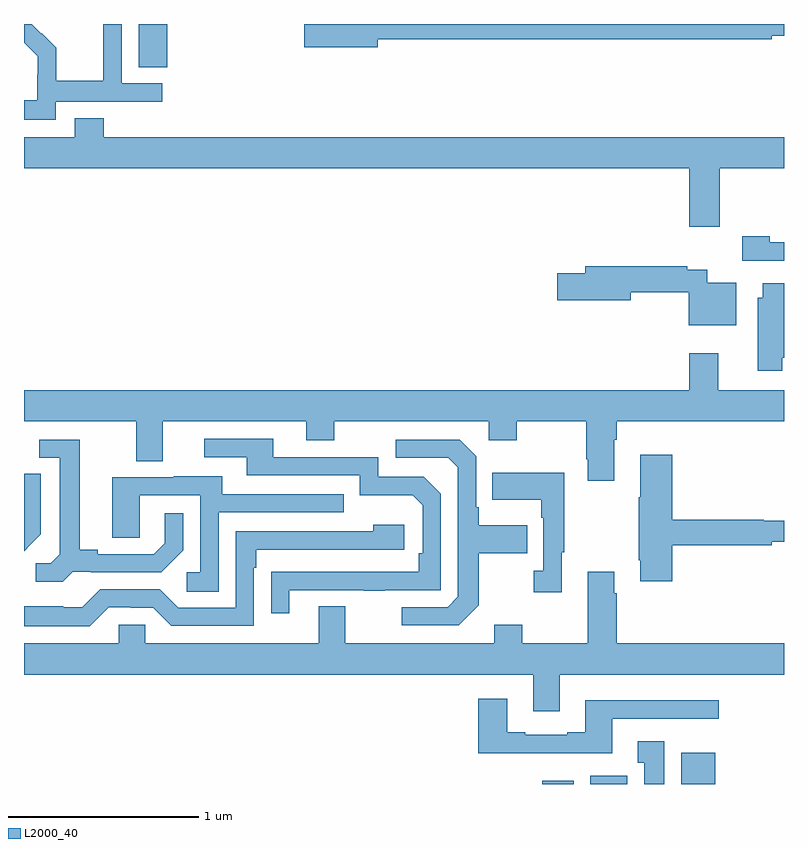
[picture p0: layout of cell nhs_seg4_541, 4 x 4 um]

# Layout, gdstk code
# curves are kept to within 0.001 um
import gdstk
lib = gdstk.Library(unit=1e-6, precision=1e-09)
def R(c, l, rs):  # rectangles x0, y0, x1, y1
    for r in rs: c.add(gdstk.rectangle(r[:2], r[2:], *l))
def P(c, l, *ps):  # polygons
    for p in ps: c.add(gdstk.Polygon(p, *l))
L2000_40 = (2000, 40)

nhs_seg4_541 = lib.new_cell('nhs_seg4_541')
R(nhs_seg4_541, L2000_40, [(139.727,806.9,139.894,806.917), (139.979,806.9,140.176,806.944), (140.459,806.9,140.638,807.064), (137.603,810.673,137.753,810.9)])
P(nhs_seg4_541, L2000_40, [(138.862,810.82),(140.936,810.82),(140.936,810.839),(141,810.839),(141,810.9),(138.474,810.9),(138.474,810.778),(138.862,810.778)],
  [(137.166,810.492),(137.728,810.492),(137.728,810.588),(137.514,810.588),(137.514,810.9),(137.418,810.9),(137.418,810.824),(137.416,810.824),(137.416,810.601),(137.171,810.601),(137.171,810.775),(137.094,810.852),(137.091,810.849),(137.041,810.9),(137,810.9),(137,810.802),(137.072,810.73),(137.072,810.633),(137.07,810.633),(137.07,810.499),(137,810.499),(137,810.395),(137.166,810.395)],
  [(140.661,810.14),(141,810.14),(141,810.304),(137.42,810.304),(137.42,810.403),(137.267,810.403),(137.267,810.304),(137,810.304),(137,810.14),(140.501,810.14),(140.501,809.832),(140.661,809.832)],
  [(141,809.751),(140.925,809.751),(140.925,809.784),(140.781,809.784),(140.781,809.655),(141,809.655)],
  [(140.749,809.539),(140.595,809.539),(140.595,809.607),(140.492,809.607),(140.492,809.624),(139.955,809.624),(139.955,809.588),(139.806,809.588),(139.806,809.446),(140.194,809.446),(140.194,809.488),(140.499,809.488),(140.499,809.315),(140.749,809.315)],
  [(140.991,809.144),(141,809.144),(141,809.536),(140.888,809.536),(140.888,809.46),(140.861,809.46),(140.861,809.076),(140.991,809.076)],
  [(141,808.972),(140.653,808.972),(140.653,809.167),(140.501,809.167),(140.501,808.972),(137,808.972),(137,808.808),(137.591,808.808),(137.591,808.6),(137.731,808.6),(137.731,808.808),(138.485,808.808),(138.485,808.709),(138.633,808.709),(138.633,808.808),(139.446,808.808),(139.446,808.709),(139.593,808.709),(139.593,808.808),(139.96,808.808),(139.96,808.609),(139.967,808.609),(139.967,808.497),(140.107,808.497),(140.107,808.712),(140.12,808.712),(140.12,808.808),(141,808.808)],
  [(138.397,807.921),(138.787,807.921),(138.787,807.916),(138.899,807.916),(138.899,807.921),(139.194,807.921),(139.194,808.428),(139.104,808.518),(138.864,808.518),(138.864,808.62),(138.313,808.62),(138.313,808.716),(137.949,808.716),(137.949,808.62),(138.173,808.62),(138.173,808.524),(138.768,808.524),(138.768,808.421),(139.045,808.421),(139.098,808.368),(139.098,808.114),(139.078,808.114),(139.078,808.017),(138.301,808.016),(138.301,807.798),(138.397,807.798)],
  [(137.256,808.017),(137.35,808.017),(137.35,808.014),(137.722,808.014),(137.838,808.13),(137.838,808.324),(137.741,808.324),(137.741,808.167),(137.684,808.11),(137.389,808.11),(137.389,808.133),(137.293,808.133),(137.293,808.713),(137.079,808.713),(137.079,808.617),(137.189,808.617),(137.189,808.109),(137.142,808.062),(137.061,808.062),(137.061,807.965),(137.204,807.965)],
  [(139.393,807.841),(139.393,808.114),(139.649,808.114),(139.649,808.261),(139.393,808.261),(139.393,808.357),(139.38,808.357),(139.38,808.626),(139.293,808.713),(138.957,808.713),(138.957,808.617),(139.233,808.617),(139.284,808.566),(139.284,807.885),(139.23,807.831),(138.987,807.831),(138.987,807.735),(139.287,807.735)],
  [(140.411,808.156),(140.936,808.156),(140.936,808.175),(141,808.175),(141,808.285),(140.894,808.285),(140.894,808.292),(140.411,808.292),(140.411,808.633),(140.243,808.633),(140.243,808.409),(140.236,808.409),(140.236,808.078),(140.243,808.078),(140.243,807.966),(140.411,807.966)],
  [(139.831,808.121),(139.843,808.121),(139.843,808.537),(139.465,808.537),(139.465,808.397),(139.722,808.397),(139.722,808.301),(139.734,808.301),(139.734,808.022),(139.683,808.022),(139.683,807.909),(139.831,807.909)],
  [(137.016,808.14),(137.015,808.141),(137.088,808.214),(137.088,808.532),(137,808.532),(137,808.124)],
  [(138.024,808.329),(138.683,808.329),(138.683,808.425),(138.043,808.425),(138.043,808.519),(137.789,808.519),(137.789,808.515),(137.465,808.515),(137.465,808.195),(137.61,808.195),(137.61,808.419),(137.928,808.419),(137.928,808.014),(137.856,808.014),(137.856,807.913),(138.024,807.913)],
  [(137.445,807.831),(137.561,807.831),(137.561,807.828),(137.679,807.828),(137.775,807.732),(138.21,807.732),(138.21,808.037),(138.223,808.037),(138.223,808.134),(139,808.134),(139,808.264),(138.839,808.264),(138.839,808.23),(138.114,808.23),(138.114,807.828),(137.811,807.828),(137.715,807.924),(137.4,807.924),(137.307,807.831),(137.207,807.831),(137.207,807.835),(137,807.835),(137,807.731),(137.345,807.731)],
  [(139.819,807.476),(141,807.476),(141,807.64),(140.12,807.64),(140.12,807.905),(140.107,807.905),(140.107,808.018),(139.967,808.018),(139.967,807.64),(139.623,807.64),(139.623,807.739),(139.475,807.739),(139.475,807.64),(138.691,807.64),(138.691,807.835),(138.551,807.835),(138.551,807.64),(137.637,807.64),(137.637,807.738),(137.499,807.738),(137.499,807.64),(137,807.64),(137,807.476),(139.679,807.476),(139.679,807.282),(139.819,807.282)],
  [(140.095,807.243),(140.656,807.243),(140.656,807.34),(139.955,807.34),(139.955,807.172),(139.859,807.172),(139.859,807.159),(139.639,807.159),(139.639,807.172),(139.543,807.172),(139.543,807.349),(139.391,807.349),(139.391,807.062),(140.095,807.062)],
  [(140.371,807.124),(140.231,807.124),(140.231,807.011),(140.264,807.011),(140.264,806.9),(140.371,806.9)])

lib.write_gds('nhs_seg4_541.gds')
